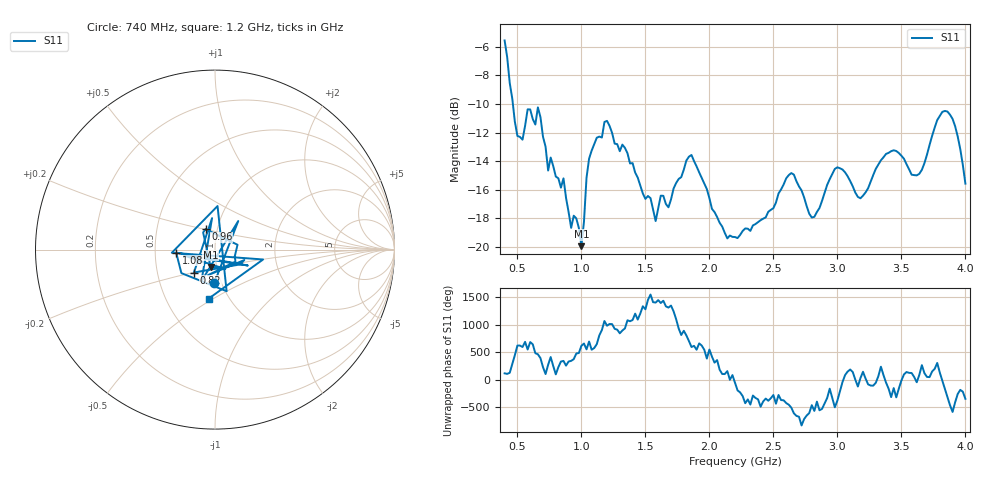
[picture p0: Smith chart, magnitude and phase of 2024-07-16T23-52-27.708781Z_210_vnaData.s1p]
!Created with skrf (http://scikit-rf.org).
# Hz S RI R 50.0
!freq ReS11 ImS11
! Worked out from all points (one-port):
!   181 points, 400 MHz to 4 GHz, reference 50 ohm
!   lowest |S11| = -20.0 dB at 1 GHz (marker M1), VSWR 1.22, Z = 46.8 - j9.21 ohm
!   |S11| at or under -10 dB: 464.7 MHz to end of sweep
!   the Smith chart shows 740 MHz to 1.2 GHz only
!   S11 on the Smith chart (normalised r, x): 740 MHz: 0.93, -0.35; 820 MHz: 0.77, -0.20; 960 MHz: 0.88, +0.20; 1.08 GHz: 0.64, -0.02; 1.2 GHz: 0.80, -0.48
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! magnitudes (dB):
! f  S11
! 400 MHz  -5.5
! 500 MHz  -12.2
! 660 MHz  -10.2
! 740 MHz  -14.7
! 820 MHz  -15.2
! 860 MHz  -15.2
! 920 MHz  -18.7
! 960 MHz  -18.0
! 1 GHz  -20.0
! 1.04 GHz  -15.2
! 1.08 GHz  -13.3
! 1.2 GHz  -11.2
! 1.3 GHz  -13.3
! 1.58 GHz  -18.2
! 1.76 GHz  -15.3
! 1.86 GHz  -13.6
! 2.2 GHz  -19.3
! 2.66 GHz  -15.0
! 2.8 GHz  -18.0
! 2.98 GHz  -14.6
! 3.1 GHz  -15.4
! 3.18 GHz  -16.6
! 3.44 GHz  -13.2
! 3.56 GHz  -14.6
! 3.64 GHz  -14.9
! 3.86 GHz  -10.5
! 3.94 GHz  -12.3
! 4 GHz  -15.6
